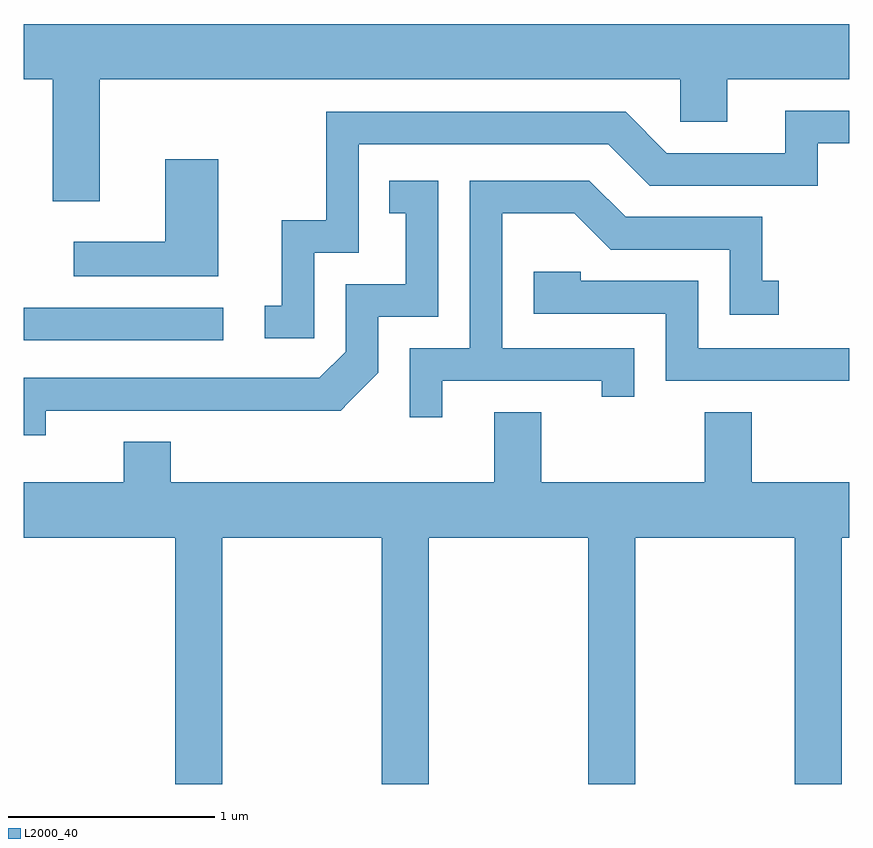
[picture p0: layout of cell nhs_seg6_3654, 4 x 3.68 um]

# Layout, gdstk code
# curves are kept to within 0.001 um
import gdstk
lib = gdstk.Library(unit=1e-6, precision=1e-09)
def R(c, l, rs):  # rectangles x0, y0, x1, y1
    for r in rs: c.add(gdstk.rectangle(r[:2], r[2:], *l))
def P(c, l, *ps):  # polygons
    for p in ps: c.add(gdstk.Polygon(p, *l))
L2000_40 = (2000, 40)

nhs_seg6_3654 = lib.new_cell('nhs_seg6_3654')
R(nhs_seg6_3654, L2000_40, [(295.611,1564.311,296.578,1564.469)])
P(nhs_seg6_3654, L2000_40, [(295.979,1565.576),(298.791,1565.576),(298.791,1565.371),(299.019,1565.371),(299.019,1565.576),(299.611,1565.576),(299.611,1565.844),(295.611,1565.844),(295.611,1565.576),(295.751,1565.576),(295.751,1564.986),(295.979,1564.986)],
  [(297.019,1564.736),(297.234,1564.736),(297.234,1565.261),(298.444,1565.261),(298.644,1565.061),(299.459,1565.061),(299.459,1565.266),(299.611,1565.266),(299.611,1565.424),(299.301,1565.424),(299.301,1565.219),(298.727,1565.219),(298.527,1565.419),(297.076,1565.419),(297.076,1564.894),(296.861,1564.894),(296.861,1564.479),(296.778,1564.479),(296.778,1564.321),(297.019,1564.321)],
  [(296.554,1565.189),(296.296,1565.189),(296.296,1564.789),(295.853,1564.789),(295.853,1564.621),(296.554,1564.621)],
  [(295.719,1563.971),(297.147,1563.971),(297.329,1564.154),(297.329,1564.426),(297.619,1564.426),(297.619,1565.084),(297.383,1565.084),(297.383,1564.926),(297.461,1564.926),(297.461,1564.584),(297.171,1564.584),(297.171,1564.257),(297.044,1564.129),(295.611,1564.129),(295.611,1563.851),(295.719,1563.851)],
  [(297.639,1564.116),(298.411,1564.116),(298.411,1564.038),(298.569,1564.038),(298.569,1564.274),(297.929,1564.274),(297.929,1564.926),(298.279,1564.926),(298.454,1564.751),(299.031,1564.751),(299.031,1564.436),(299.268,1564.436),(299.268,1564.599),(299.189,1564.599),(299.189,1564.909),(298.527,1564.909),(298.352,1565.084),(297.771,1565.084),(297.771,1564.274),(297.481,1564.274),(297.481,1563.938),(297.639,1563.938)],
  [(299.611,1564.274),(298.879,1564.274),(298.879,1564.599),(298.309,1564.599),(298.309,1564.644),(298.081,1564.644),(298.081,1564.441),(298.721,1564.441),(298.721,1564.116),(299.611,1564.116)],
  [(296.574,1563.356),(297.346,1563.356),(297.346,1562.162),(297.574,1562.162),(297.574,1563.356),(298.346,1563.356),(298.346,1562.162),(298.574,1562.162),(298.574,1563.356),(299.346,1563.356),(299.346,1562.162),(299.574,1562.162),(299.574,1563.356),(299.611,1563.356),(299.611,1563.624),(299.139,1563.624),(299.139,1563.964),(298.911,1563.964),(298.911,1563.624),(298.119,1563.624),(298.119,1563.964),(297.891,1563.964),(297.891,1563.624),(296.324,1563.624),(296.324,1563.819),(296.096,1563.819),(296.096,1563.624),(295.611,1563.624),(295.611,1563.356),(296.346,1563.356),(296.346,1562.162),(296.574,1562.162)])

lib.write_gds('nhs_seg6_3654.gds')
